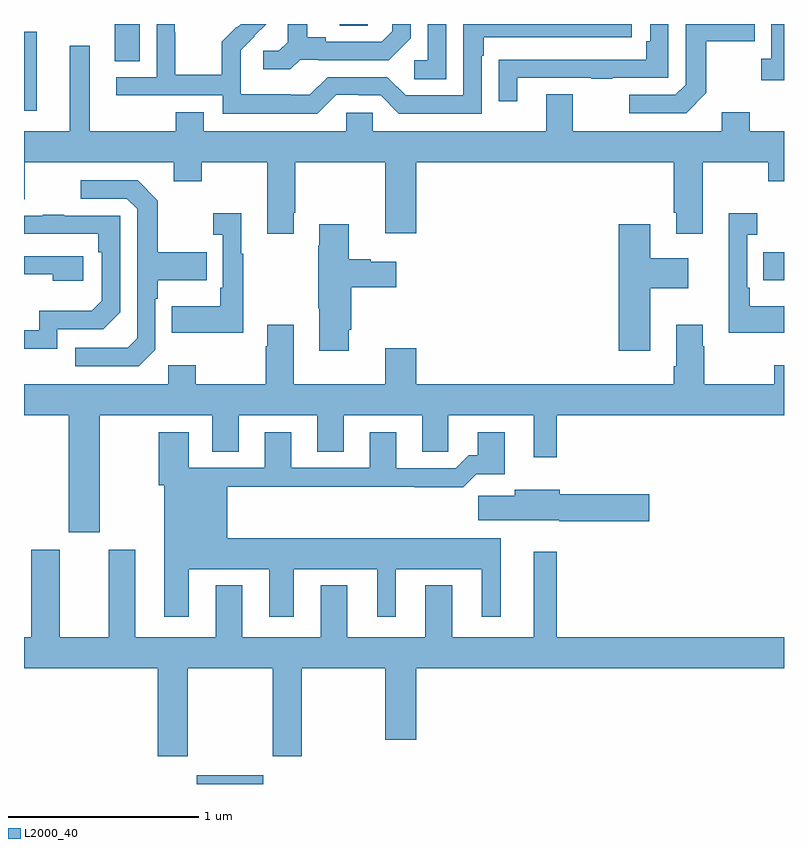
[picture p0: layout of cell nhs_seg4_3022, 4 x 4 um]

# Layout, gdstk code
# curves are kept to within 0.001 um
import gdstk
lib = gdstk.Library(unit=1e-6, precision=1e-09)
def R(c, l, rs):  # rectangles x0, y0, x1, y1
    for r in rs: c.add(gdstk.rectangle(r[:2], r[2:], *l))
def P(c, l, *ps):  # polygons
    for p in ps: c.add(gdstk.Polygon(p, *l))
L2000_40 = (2000, 40)

nhs_seg4_3022 = lib.new_cell('nhs_seg4_3022')
R(nhs_seg4_3022, L2000_40, [(271.91,774.9,272.26,774.946), (274.891,777.551,275,777.699), (271,778.443,271.066,778.858), (271.478,778.705,271.609,778.9), (272.663,778.891,272.808,778.9)])
P(nhs_seg4_3022, L2000_40, [(275,778.9),(274.932,778.9),(274.932,778.718),(274.881,778.718),(274.881,778.605),(275,778.605)],
  [(272.643,778.527),(272.759,778.527),(272.759,778.524),(272.877,778.524),(272.973,778.428),(273.408,778.428),(273.408,778.733),(273.421,778.733),(273.421,778.83),(274.198,778.83),(274.198,778.9),(273.312,778.9),(273.312,778.524),(273.009,778.524),(272.913,778.62),(272.598,778.62),(272.505,778.527),(272.405,778.527),(272.405,778.531),(272.142,778.531),(272.142,778.665),(272.14,778.665),(272.14,778.762),(272.276,778.9),(272.14,778.9),(272.121,778.881),(272.118,778.884),(272.041,778.807),(272.041,778.633),(271.797,778.633),(271.797,778.856),(271.794,778.856),(271.794,778.9),(271.698,778.9),(271.698,778.62),(271.485,778.62),(271.485,778.524),(272.046,778.524),(272.046,778.427),(272.543,778.427)],
  [(273.222,778.9),(273.126,778.9),(273.126,778.71),(273.054,778.71),(273.054,778.609),(273.222,778.609)],
  [(273.595,778.617),(273.985,778.617),(273.985,778.612),(274.097,778.612),(274.097,778.617),(274.392,778.617),(274.392,778.9),(274.296,778.9),(274.296,778.81),(274.276,778.81),(274.276,778.713),(273.601,778.713),(273.601,778.712),(273.499,778.712),(273.499,778.494),(273.595,778.494)],
  [(272.454,778.713),(272.548,778.713),(272.548,778.71),(272.92,778.71),(273.036,778.826),(273.036,778.9),(272.939,778.9),(272.939,778.863),(272.882,778.806),(272.587,778.806),(272.587,778.829),(272.491,778.829),(272.491,778.9),(272.387,778.9),(272.387,778.805),(272.34,778.758),(272.259,778.758),(272.259,778.661),(272.402,778.661)],
  [(274.591,778.537),(274.591,778.81),(274.847,778.81),(274.847,778.9),(274.482,778.9),(274.482,778.581),(274.428,778.527),(274.185,778.527),(274.185,778.431),(274.485,778.431)],
  [(272.419,777.907),(272.427,777.907),(272.427,778.172),(272.9,778.172),(272.9,777.798),(273.064,777.798),(273.064,778.172),(274.421,778.172),(274.421,777.907),(274.433,777.907),(274.433,777.795),(274.573,777.795),(274.573,778.172),(274.918,778.172),(274.918,778.073),(275,778.073),(275,778.336),(274.821,778.336),(274.821,778.435),(274.673,778.435),(274.673,778.336),(273.889,778.336),(273.889,778.531),(273.749,778.531),(273.749,778.336),(272.835,778.336),(272.835,778.434),(272.697,778.434),(272.697,778.336),(271.945,778.336),(271.945,778.435),(271.798,778.435),(271.798,778.336),(271.345,778.336),(271.345,778.786),(271.241,778.786),(271.241,778.336),(271,778.336),(271,777.978),(271.003,777.978),(271.003,778.172),(271.787,778.172),(271.787,778.073),(271.935,778.073),(271.935,778.172),(272.279,778.172),(272.279,777.795),(272.419,777.795)],
  [(271.692,777.186),(271.692,777.455),(271.705,777.455),(271.705,777.551),(271.961,777.551),(271.961,777.699),(271.705,777.699),(271.705,777.971),(271.599,778.077),(271.299,778.077),(271.299,777.981),(271.542,777.981),(271.596,777.927),(271.596,777.246),(271.545,777.195),(271.269,777.195),(271.269,777.099),(271.605,777.099)],
  [(275,777.415),(274.819,777.415),(274.819,777.511),(274.806,777.511),(274.806,777.791),(274.858,777.791),(274.858,777.904),(274.709,777.904),(274.709,777.275),(275,777.275)],
  [(272.155,777.691),(272.143,777.691),(272.143,777.904),(271.995,777.904),(271.995,777.791),(272.046,777.791),(272.046,777.511),(272.034,777.511),(272.034,777.415),(271.777,777.415),(271.777,777.275),(272.155,777.275)],
  [(271.176,777.294),(271.416,777.294),(271.506,777.384),(271.506,777.891),(271.211,777.891),(271.211,777.896),(271.099,777.896),(271.099,777.891),(271,777.891),(271,777.795),(271.39,777.795),(271.39,777.698),(271.41,777.698),(271.41,777.444),(271.357,777.391),(271.08,777.391),(271.08,777.288),(271,777.288),(271,777.192),(271.176,777.192)],
  [(274.297,777.509),(274.495,777.509),(274.495,777.667),(274.297,777.667),(274.297,777.847),(274.13,777.847),(274.13,777.18),(274.297,777.18)],
  [(272.71,777.292),(272.723,777.292),(272.723,777.515),(272.959,777.515),(272.959,777.649),(272.826,777.649),(272.826,777.662),(272.71,777.662),(272.71,777.847),(272.555,777.847),(272.555,777.734),(272.548,777.734),(272.548,777.403),(272.555,777.403),(272.555,777.18),(272.71,777.18)],
  [(271.312,777.678),(271,777.678),(271,777.582),(271.151,777.582),(271.151,777.548),(271.312,777.548)],
  [(271.399,776.84),(271.991,776.84),(271.991,776.65),(272.131,776.65),(272.131,776.84),(272.543,776.84),(272.543,776.65),(272.683,776.65),(272.683,776.84),(273.095,776.84),(273.095,776.65),(273.234,776.65),(273.234,776.84),(273.683,776.84),(273.683,776.619),(273.805,776.619),(273.805,776.84),(275,776.84),(275,777.103),(274.948,777.103),(274.948,777.004),(274.581,777.004),(274.581,777.203),(274.573,777.203),(274.573,777.316),(274.433,777.316),(274.433,777.1),(274.421,777.1),(274.421,777.004),(273.064,777.004),(273.064,777.193),(272.9,777.193),(272.9,777.004),(272.419,777.004),(272.419,777.316),(272.279,777.316),(272.279,777.203),(272.272,777.203),(272.272,777.004),(271.905,777.004),(271.905,777.103),(271.758,777.103),(271.758,777.004),(271,777.004),(271,776.84),(271.235,776.84),(271.235,776.226),(271.399,776.226)],
  [(271.867,776.03),(272.291,776.03),(272.291,775.779),(272.419,775.779),(272.419,776.03),(272.858,776.03),(272.858,775.779),(272.956,775.779),(272.956,776.03),(273.41,776.03),(273.41,775.779),(273.508,775.779),(273.508,776.194),(272.071,776.194),(272.071,776.464),(273.055,776.464),(273.055,776.462),(273.311,776.462),(273.38,776.531),(273.529,776.531),(273.529,776.752),(273.389,776.752),(273.389,776.629),(273.34,776.629),(273.273,776.562),(272.959,776.562),(272.959,776.752),(272.819,776.752),(272.819,776.565),(272.407,776.565),(272.407,776.752),(272.267,776.752),(272.267,776.565),(271.867,776.565),(271.867,776.752),(271.708,776.752),(271.708,776.472),(271.739,776.472),(271.739,775.779),(271.867,775.779)],
  [(274.291,776.424),(273.82,776.424),(273.82,776.449),(273.584,776.449),(273.584,776.417),(273.39,776.417),(273.39,776.288),(273.816,776.288),(273.816,776.282),(274.291,776.282)],
  [(271.863,775.508),(272.308,775.508),(272.308,775.047),(272.463,775.047),(272.463,775.508),(272.9,775.508),(272.9,775.134),(273.064,775.134),(273.064,775.508),(275,775.508),(275,775.672),(273.805,775.672),(273.805,776.122),(273.683,776.122),(273.683,775.672),(273.253,775.672),(273.253,775.945),(273.113,775.945),(273.113,775.672),(272.701,775.672),(272.701,775.945),(272.561,775.945),(272.561,775.672),(272.149,775.672),(272.149,775.945),(272.009,775.945),(272.009,775.672),(271.585,775.672),(271.585,776.134),(271.445,776.134),(271.445,775.672),(271.189,775.672),(271.189,776.134),(271.037,776.134),(271.037,775.672),(271,775.672),(271,775.508),(271.703,775.508),(271.703,775.047),(271.863,775.047)])

lib.write_gds('nhs_seg4_3022.gds')
